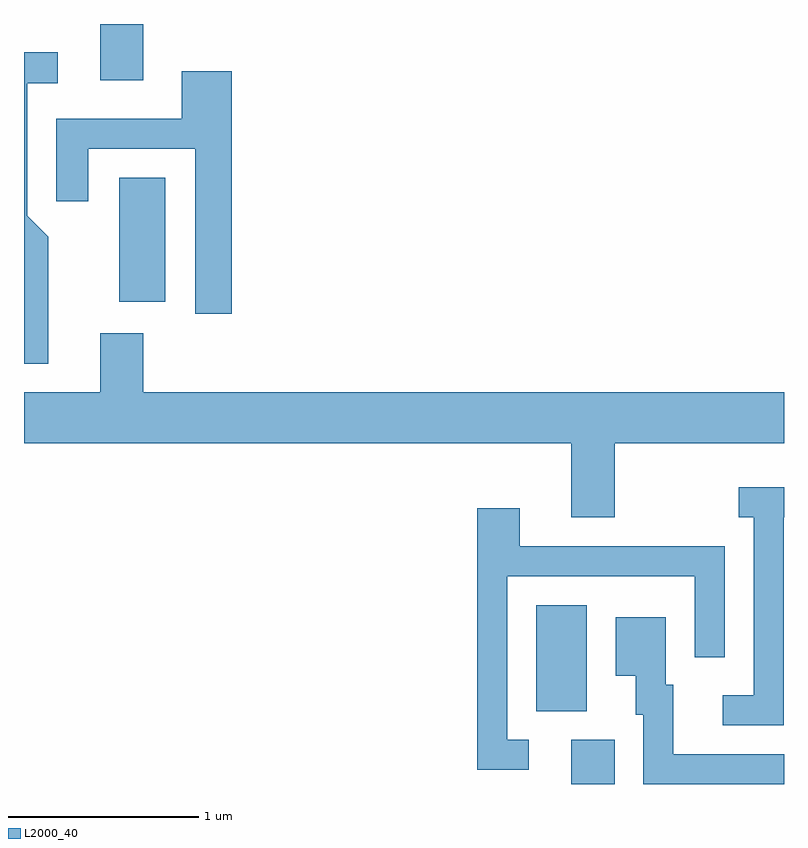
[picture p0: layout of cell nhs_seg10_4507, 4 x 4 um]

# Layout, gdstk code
import gdstk
lib = gdstk.Library(unit=1e-6, precision=1e-09)
def R(c, l, rs):  # rectangles x0, y0, x1, y1
    for r in rs: c.add(gdstk.rectangle(r[:2], r[2:], *l))
def P(c, l, *ps):  # polygons
    for p in ps: c.add(gdstk.Polygon(p, *l))
L2000_40 = (2000, 40)

nhs_seg10_4507 = lib.new_cell('nhs_seg10_4507')
R(nhs_seg10_4507, L2000_40, [(320.491,2156.522,320.719,2156.754), (320.306,2156.906,320.574,2157.464), (318.111,2159.061,318.354,2159.714), (318.011,2160.226,318.239,2160.522)])
P(nhs_seg10_4507, L2000_40, [(317.739,2159.402),(317.629,2159.512),(317.629,2160.211),(317.788,2160.211),(317.788,2160.374),(317.611,2160.374),(317.611,2158.733),(317.739,2158.733)],
  [(318.704,2160.274),(318.441,2160.274),(318.441,2160.024),(317.781,2160.024),(317.781,2159.588),(317.949,2159.588),(317.949,2159.866),(318.511,2159.866),(318.511,2158.996),(318.704,2158.996)],
  [(320.719,2158.316),(321.611,2158.316),(321.611,2158.584),(318.239,2158.584),(318.239,2158.894),(318.011,2158.894),(318.011,2158.584),(317.611,2158.584),(317.611,2158.316),(320.491,2158.316),(320.491,2157.926),(320.719,2157.926)],
  [(321.609,2157.926),(321.611,2157.926),(321.611,2158.084),(321.373,2158.084),(321.373,2157.926),(321.451,2157.926),(321.451,2156.989),(321.288,2156.989),(321.288,2156.831),(321.609,2156.831)],
  [(320.268,2156.754),(320.154,2156.754),(320.154,2157.616),(321.141,2157.616),(321.141,2157.188),(321.299,2157.188),(321.299,2157.774),(320.219,2157.774),(320.219,2157.974),(319.996,2157.974),(319.996,2156.596),(320.268,2156.596)],
  [(321.611,2156.679),(321.029,2156.679),(321.029,2157.044),(320.989,2157.044),(320.989,2157.399),(320.726,2157.399),(320.726,2157.091),(320.831,2157.091),(320.831,2156.886),(320.871,2156.886),(320.871,2156.522),(321.611,2156.522)])

lib.write_gds('nhs_seg10_4507.gds')
